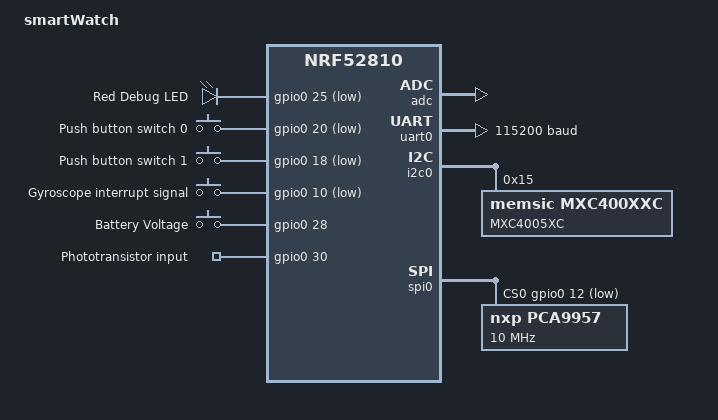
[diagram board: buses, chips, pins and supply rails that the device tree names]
/*
 * Copyright (c) 2023 Simon Brenninger
 *
 * SPDX-License-Identifier: GPLv3
 */

/dts-v1/;
#include <nordic/nrf52810_qfaa.dtsi>
#include "smartWatch-pinctrl.dtsi"

/ {
	model = "smartWatch";
	compatible = "nordic,smartWatch";

	chosen {
		zephyr,console = &uart0;
		zephyr,shell-uart = &uart0;
		zephyr,uart-mcumgr = &uart0;
		zephyr,sram = &sram0;
		zephyr,flash = &flash0;
		zephyr,code-partition = &slot0_partition;
	};
 
	leds {
		compatible = "gpio-leds";
		led0: led0 {
			gpios = <&gpio0 25 GPIO_ACTIVE_LOW>;
			label = "Red Debug LED";
		};
	};

	buttons {
		compatible = "gpio-keys";
		btn0: btn0 {
			label = "Push button switch 0";
			gpios = <&gpio0 20 (GPIO_PULL_UP | GPIO_ACTIVE_LOW)>;
		};
		btn1: btn1 {
			label = "Push button switch 1";
			gpios = <&gpio0 18 (GPIO_ACTIVE_LOW)>;
		};
	};

	custom_pins {
		compatible = "gpio-keys";
		gyroint: gyroint {
			label = "Gyroscope interrupt signal";
			gpios = <&gpio0 10 (GPIO_ACTIVE_LOW)>;
		};
		batsens: batsens {
			label = "Battery Voltage";
			gpios = <&gpio0 28 (GPIO_ACTIVE_HIGH)>;
		};
		photo: photosens {
			label = "Phototransistor input";
			gpios = <&gpio0 30 (GPIO_ACTIVE_HIGH)>;
		};
	};

	aliases {
		led0 = &led0;
		sw0 = &btn0;
	};
};

&adc {
	status = "okay";
};

&gpiote {
	status = "okay";
};

&gpio0 {
	status = "okay";
};

&uart0 {
	status = "okay";
	compatible = "nordic,nrf-uart";
	current-speed = <115200>;
	pinctrl-0 = <&uart0_default>;
	pinctrl-1 = <&uart0_sleep>;
	pinctrl-names = "default", "sleep";
};
 
&i2c0 {
	compatible = "nordic,nrf-twi";
	status = "okay";
	pinctrl-0 = <&i2c0_default>;
	pinctrl-1 = <&i2c0_sleep>;
	pinctrl-names = "default", "sleep";

	mxc400: mxc400@15 {
		compatible = "memsic,mxc400xxc";
		label = "MXC4005XC";
		reg = <0x15>;
	};
};

&spi0 {
	compatible = "nordic,nrf-spi";
	status = "okay";
	pinctrl-0 = <&spi0_default>;
	pinctrl-1 = <&spi0_sleep>;
	pinctrl-names = "default", "sleep";
	cs-gpios = <&gpio0 12 GPIO_ACTIVE_LOW>;
	
	pca9957: pca9957@0 {
		compatible = "nxp,pca9957";
		reg = <0>;
		spi-max-frequency = <10000000>;
	};
	
};

&flash0 {
	/*
	 * For more information, see:
	 * http://docs.zephyrproject.org/latest/guides/dts/index.html#flash-partitions
	 */
	partitions {
		compatible = "fixed-partitions";
		#address-cells = <1>;
		#size-cells = <1>;

		boot_partition: partition@0 {
			label = "mcuboot";
			reg = <0x00000000 0xc000>;
		};
		slot0_partition: partition@c000 {
			label = "image-0";
			reg = <0x0000c000 0xe000>;
		};
		slot1_partition: partition@1a000 {
			label = "image-1";
			reg = <0x0001a000 0xe000>;
		};
		scratch_partition: partition@28000 {
			label = "image-scratch";
			reg = <0x00028000 0x4000>;
		};
		storage_partition: partition@2c000 {
			label = "storage";
			reg = <0x0002c000 0x00004000>;
		};
	};
};
